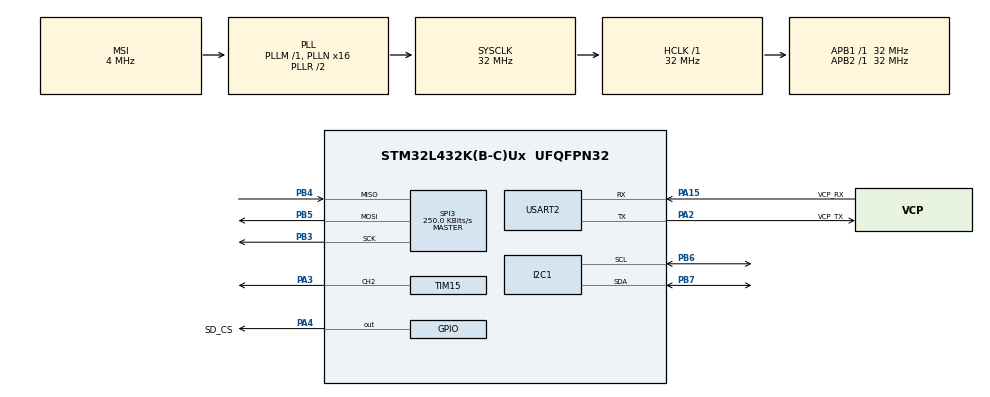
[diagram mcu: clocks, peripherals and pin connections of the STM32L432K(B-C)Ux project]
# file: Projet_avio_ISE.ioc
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I2C1.Timing=0x00B07CB4
Mcu.Family=STM32L4
Mcu.Name=STM32L432K(B-C)Ux
Mcu.Package=UFQFPN32
NVIC.PriorityGroup=NVIC_PRIORITYGROUP_4
PA0.GPIO_Label=MCO [High speed clock in]
PA0.Mode=HSE-External-Clock-Source-for-LittleOrca
PA0.Signal=RCC_CK_IN
PA13\ (JTMS-SWDIO).GPIO_Label=SWDIO
PA13\ (JTMS-SWDIO).Mode=Serial_Wire
PA13\ (JTMS-SWDIO).Signal=SYS_JTMS-SWDIO
PA14\ (JTCK-SWCLK).GPIO_Label=SWCLK
PA14\ (JTCK-SWCLK).Mode=Serial_Wire
PA14\ (JTCK-SWCLK).Signal=SYS_JTCK-SWCLK
PA15\ (JTDI).GPIO_Label=VCP_RX
PA15\ (JTDI).Mode=Asynchronous
PA15\ (JTDI).Signal=USART2_RX
PA2.GPIO_Label=VCP_TX
PA2.Mode=Asynchronous
PA2.Signal=USART2_TX
PA3.Signal=S_TIM15_CH2
PA4.GPIO_Label=SD_CS
PA4.GPIO_PuPd=GPIO_PULLUP
PA4.GPIO_Speed=GPIO_SPEED_FREQ_LOW
PA4.PinState=GPIO_PIN_SET
PA4.Signal=GPIO_Output
PB3\ (JTDO-TRACESWO).GPIO_PuPd=GPIO_PULLUP
PB3\ (JTDO-TRACESWO).Mode=Full_Duplex_Master
PB3\ (JTDO-TRACESWO).Signal=SPI3_SCK
PB4\ (NJTRST).GPIO_PuPd=GPIO_PULLUP
PB4\ (NJTRST).Mode=Full_Duplex_Master
PB4\ (NJTRST).Signal=SPI3_MISO
PB5.GPIO_PuPd=GPIO_PULLUP
PB5.Mode=Full_Duplex_Master
PB5.Signal=SPI3_MOSI
PB6.Mode=I2C
PB6.Signal=I2C1_SCL
PB7.Mode=I2C
PB7.Signal=I2C1_SDA
PC14-OSC32_IN\ (PC14).Mode=LSE-External-Oscillator
PC14-OSC32_IN\ (PC14).Signal=RCC_OSC32_IN
PC15-OSC32_OUT\ (PC15).Mode=LSE-External-Oscillator
PC15-OSC32_OUT\ (PC15).Signal=RCC_OSC32_OUT
ProjectManager.HeapSize=0x200
ProjectManager.StackSize=0x400
ProjectManager.TargetToolchain=STM32CubeIDE
RCC.AHBFreq_Value=32000000
RCC.APB1Freq_Value=32000000
RCC.APB1TimFreq_Value=32000000
RCC.APB2Freq_Value=32000000
RCC.APB2TimFreq_Value=32000000
RCC.CortexFreq_Value=32000000
RCC.HCLKFreq_Value=32000000
RCC.HSE_VALUE=8000000
RCC.HSI16_VALUE=16000000
RCC.HSI48_VALUE=48000000
RCC.HSI_VALUE=16000000
RCC.MSI_VALUE=4000000
RCC.PLLMUL=RCC_PLLMUL_4
RCC.PLLN=16
RCC.SYSCLKFreq_VALUE=32000000
RCC.SYSCLKSource=RCC_SYSCLKSOURCE_PLLCLK
RCC.VCOOutputFreq_Value=64000000
SH.S_TIM15_CH2.0=TIM15_CH2,PWM Generation2 CH2
SPI3.BaudRatePrescaler=SPI_BAUDRATEPRESCALER_128
SPI3.CalculateBaudRate=250.0 KBits/s
SPI3.DataSize=SPI_DATASIZE_8BIT
SPI3.Direction=SPI_DIRECTION_2LINES
SPI3.Mode=SPI_MODE_MASTER
SPI3.VirtualType=VM_MASTER
TIM15.Channel-PWM\ Generation2\ CH2=TIM_CHANNEL_2
TIM15.Prescaler=31
USART2.VirtualMode-Asynchronous=VM_ASYNC
VP_FATFS_VS_Generic.Mode=User_defined
VP_TIM15_VS_ClockSourceINT.Mode=Internal
board=NUCLEO-L432KC

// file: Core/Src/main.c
/* USER CODE BEGIN Header */
/**
  ******************************************************************************
  * @file           : main.c
  * @brief          : Main program body
  ******************************************************************************
  */
/* USER CODE END Header */
#include "main.h"
#include "fatfs.h"

/* USER CODE BEGIN Includes */
#include <stdio.h>
#include "ssd1306.h"
#include "ssd1306_fonts.h"
#include "BMPXX80.h"
#include "icm20948.h"
#include "sd_logger.h"
#include "arinc429.h"
#include "servo.h"
/* USER CODE END Includes */

/* USER CODE BEGIN PD */
#define BMP280_ADDR 0xEC // Adresse I2C (0x76 << 1)
/* USER CODE END PD */

I2C_HandleTypeDef hi2c1;

SPI_HandleTypeDef hspi3;

TIM_HandleTypeDef htim15;

UART_HandleTypeDef huart2;

void SystemClock_Config(void);
static void MX_GPIO_Init(void);
static void MX_USART2_UART_Init(void);
static void MX_I2C1_Init(void);
static void MX_SPI3_Init(void);
static void MX_TIM15_Init(void);

/* USER CODE BEGIN 0 */

// Redirection printf vers Tera Term
int _write(int file, char *ptr, int len) {
    HAL_UART_Transmit(&huart2, (uint8_t *)ptr, len, HAL_MAX_DELAY);
    return len;
}

/* USER CODE END 0 */

int main(void)
{

  /* MCU Configuration--------------------------------------------------------*/

  /* Reset of all peripherals, Initializes the Flash interface and the Systick. */
  HAL_Init();

  /* Configure the system clock */
  SystemClock_Config();

  /* Initialize all configured peripherals */
  MX_GPIO_Init();
  MX_USART2_UART_Init();
  MX_I2C1_Init();
  MX_FATFS_Init();
  MX_SPI3_Init();
  MX_TIM15_Init();
  /* USER CODE BEGIN 2 */
  printf("\r\n--- Systeme Avionique : Valeurs Reelles ---\r\n");

  ssd1306_Init();
  ssd1306_Fill(Black);
  ssd1306_UpdateScreen();

  // Initialisation via bibliothèque (lit les réglages de calibration) [cite: 87]
  BMP280_Init(&hi2c1, BMP280_TEMPERATURE_16BIT, BMP280_STANDARD, BMP280_FORCEDMODE);

  printf("Capteur calibre et pret.\r\n");

  //Initialisation du gyro via la bibliothèque
  if (ICM20948_Init(&hi2c1) == 0) {
      printf("Gyro ICM-20948 Pret et configure !\r\n");
  } else {
      printf("Erreur d'initialisation du Gyroscope.\r\n");
  }

  //Init carte SD
  //AJout délais
  HAL_Delay(1000);
  if (SD_Logger_Init() == 0) {
        printf("Carte SD initialisee ! Fichier VOL_001.CSV cree.\r\n");
    } else {
        printf("ERREUR Carte SD.\r\n");
    }

  // Initialisation du Servomoteur
  HAL_Delay(1000);
  Servo_Init(&htim15, TIM_CHANNEL_2);
  //HAL_TIM_PWM_Start(&htim16, TIM_CHANNEL_1);
  printf("Servomoteur initialise.\r\n");
  float yaw = 0.0f;
  // TEST BRUTE-FORCE : On force l'impulsion à 2000 µs (+90°)
    __HAL_TIM_SET_COMPARE(&htim15, TIM_CHANNEL_2, 2000);
    HAL_Delay(1000); // On attend 1 seconde pour voir s'il bouge
    __HAL_TIM_SET_COMPARE(&htim15, TIM_CHANNEL_2, 1000); // Puis on le force à -90°

  /* USER CODE END 2 */

  /* Infinite loop */
  /* USER CODE BEGIN WHILE */
    while (1)
    {
    	//__HAL_TIM_SET_COMPARE(&htim16, TIM_CHANNEL_1, 1500);
        // --- 1. Variables pour stocker les mesures ---
        float temperature = 0.0f;
        int32_t pressure_pa = 0;

        float ax = 0.0f, ay = 0.0f, az = 0.0f;
        float gx = 0.0f, gy = 0.0f, gz = 0.0f;

        char oled_buf[32];

        // --- 2. Lecture de tous les capteurs ---
        uint8_t bmp_ok   = (BMP280_ReadTemperatureAndPressure(&temperature, &pressure_pa) == 0);
        uint8_t accel_ok = (ICM20948_ReadAccel(&ax, &ay, &az) == 0);
        ICM20948_ReadGyro(&gx, &gy, &gz);

        // --- 3. Début du dessin sur l'écran (On nettoie tout) ---
        ssd1306_Fill(Black);

        // ==========================================
		// GESTION DU SERVOMOTEUR (LACET / YAW)
		// ==========================================
		if (gz > 2.0f || gz < -2.0f) {
			// Intégration de la vitesse pour obtenir l'angle
			yaw -= (gz * 0.05f);
		}

		// 1. Bridage mathématique de l'angle (-90° à +90°)
		if (yaw > 90.0f) yaw = 90.0f;
		if (yaw < -90.0f) yaw = -90.0f;

		// 2. Calcul direct de l'impulsion (5.55 µs par degré)
		uint32_t pulse = 1500 + (int32_t)(yaw * 5.55f);

		// 3. Sécurité mécanique absolue
		if (pulse < 1000) pulse = 1000;
		if (pulse > 2000) pulse = 2000;

		// 4. Ordre matériel direct au Timer 15 (On bypass le fichier servo.c)
		__HAL_TIM_SET_COMPARE(&htim15, TIM_CHANNEL_2, pulse);

		// 5. Affichage Tera Term complet pour vérifier que le Pulse suit bien l'angle
		printf("GZ: %.2f | Angle YAW: %.2f | Pulse PWM: %lu us\r\n", gz, yaw, pulse);
        //Servo_UpdateYaw(yaw);
        //__HAL_TIM_SET_COMPARE(&htim16, TIM_CHANNEL_1, 1500);
		//if (accel_ok) {
			// On met à jour l'angle.
			// On passe 'gz' (la vitesse lue du gyro) et '0.05f' (le temps de boucle 50ms)
			//Servo_UpdateYaw(gz, 0.05f);
		//}

        // ==========================================
        // PARTIE GAUCHE : DONNÉES MÉTÉO (BMP280)
        // ==========================================
        if (bmp_ok) {
            int t_entier = (int)temperature;
            int t_dec = (int)((temperature - t_entier) * 100);
            if(t_dec < 0) t_dec = -t_dec;
            int p_hpa = pressure_pa / 100;

            // ==========================================
            // Génération du mot ARINC 429
            // ==========================================

            uint32_t mon_mot_arinc = Generer_Mot_ARINC429_Pression(p_hpa);
            printf("Pression: %d hPa | Mot ARINC 429: 0x%08lX\r\n", p_hpa, mon_mot_arinc);

            // Affichage OLED
            ssd1306_SetCursor(2, 15);
            sprintf(oled_buf, "T:%d.%01d C", t_entier, t_dec / 10);
            ssd1306_WriteString(oled_buf, Font_7x10, White);

            ssd1306_SetCursor(2, 35);
            sprintf(oled_buf, "P:%d", p_hpa);
            ssd1306_WriteString(oled_buf, Font_7x10, White);

            ssd1306_SetCursor(2, 47);
            ssd1306_WriteString("hPa", Font_7x10, White);
        } else {
            ssd1306_SetCursor(2, 25);
            ssd1306_WriteString("BMP: ERR", Font_7x10, White);
        }

        // --- Ligne de séparation au milieu de l'écran ---
        ssd1306_Line(62, 0, 62, 64, White);

        // ==========================================
        // PARTIE DROITE : HORIZON ARTIFICIEL (ICM20948)
        // ==========================================
        int center_x = 96;
        int center_y = 32;

        ssd1306_DrawCircle(center_x, center_y, 6, White);
        ssd1306_DrawPixel(center_x, center_y, White);

        if (accel_ok) {
            int pitch_offset = (int)(ay * 18.0f);
            int roll_effect = (int)(ax * 15.0f);

            int x1 = center_x - 22;
            int y1 = center_y + pitch_offset - roll_effect;

            int x2 = center_x + 22;
            int y2 = center_y + pitch_offset + roll_effect;

            if (y1 < 0) { y1 = 0; }
            if (y1 > 63) { y1 = 63; }
            if (y2 < 0) { y2 = 0; }
            if (y2 > 63) { y2 = 63; }

            ssd1306_Line(x1, y1, x2, y2, White);
        } else {
            ssd1306_Line(76, 12, 116, 52, White);
            ssd1306_Line(116, 12, 76, 52, White);
        }

        // ==========================================
        // ENREGISTREMENT CARTE SD
        // ==========================================
        if (bmp_ok && accel_ok) {
            // On écrit sur la carte SD
            uint8_t sd_status = SD_Logger_Write(HAL_GetTick(), temperature, pressure_pa, ax, ay, az);

            if (sd_status == 0) {
                // Si l'écriture a réussi, on allume le "voyant" d'enregistrement sur l'OLED
                ssd1306_DrawPixel(120, 5, White);
                ssd1306_DrawPixel(121, 5, White); // On en met 4 pour faire un petit carré visible
                ssd1306_DrawPixel(120, 6, White);
                ssd1306_DrawPixel(121, 6, White);
            }
        }

        // --- 4. Envoi de toute l'image construite vers l'OLED ---
        ssd1306_UpdateScreen();

        // Délai pour dicter la vitesse d'enregistrement (50ms = 20 lignes par seconde)
        HAL_Delay(50);

    /* USER CODE END WHILE */

  }
}

void SystemClock_Config(void)
{
  RCC_OscInitTypeDef RCC_OscInitStruct = {0};
  RCC_ClkInitTypeDef RCC_ClkInitStruct = {0};

  /** Configure the main internal regulator output voltage
  */
  if (HAL_PWREx_ControlVoltageScaling(PWR_REGULATOR_VOLTAGE_SCALE1) != HAL_OK)
  {
    Error_Handler();
  }

  /** Configure LSE Drive Capability
  */
  HAL_PWR_EnableBkUpAccess();
  __HAL_RCC_LSEDRIVE_CONFIG(RCC_LSEDRIVE_LOW);

  /** Initializes the RCC Oscillators according to the specified parameters
  * in the RCC_OscInitTypeDef structure.
  */
  RCC_OscInitStruct.OscillatorType = RCC_OSCILLATORTYPE_LSE|RCC_OSCILLATORTYPE_MSI;
  RCC_OscInitStruct.LSEState = RCC_LSE_ON;
  RCC_OscInitStruct.MSIState = RCC_MSI_ON;
  RCC_OscInitStruct.MSICalibrationValue = 0;
  RCC_OscInitStruct.MSIClockRange = RCC_MSIRANGE_6;
  RCC_OscInitStruct.PLL.PLLState = RCC_PLL_ON;
  RCC_OscInitStruct.PLL.PLLSource = RCC_PLLSOURCE_MSI;
  RCC_OscInitStruct.PLL.PLLM = 1;
  RCC_OscInitStruct.PLL.PLLN = 16;
  RCC_OscInitStruct.PLL.PLLP = RCC_PLLP_DIV7;
  RCC_OscInitStruct.PLL.PLLQ = RCC_PLLQ_DIV2;
  RCC_OscInitStruct.PLL.PLLR = RCC_PLLR_DIV2;
  if (HAL_RCC_OscConfig(&RCC_OscInitStruct) != HAL_OK)
  {
    Error_Handler();
  }

  /** Initializes the CPU, AHB and APB buses clocks
  */
  RCC_ClkInitStruct.ClockType = RCC_CLOCKTYPE_HCLK|RCC_CLOCKTYPE_SYSCLK
                              |RCC_CLOCKTYPE_PCLK1|RCC_CLOCKTYPE_PCLK2;
  RCC_ClkInitStruct.SYSCLKSource = RCC_SYSCLKSOURCE_PLLCLK;
  RCC_ClkInitStruct.AHBCLKDivider = RCC_SYSCLK_DIV1;
  RCC_ClkInitStruct.APB1CLKDivider = RCC_HCLK_DIV1;
  RCC_ClkInitStruct.APB2CLKDivider = RCC_HCLK_DIV1;

  if (HAL_RCC_ClockConfig(&RCC_ClkInitStruct, FLASH_LATENCY_1) != HAL_OK)
  {
    Error_Handler();
  }

  /** Enable MSI Auto calibration
  */
  HAL_RCCEx_EnableMSIPLLMode();
}

static void MX_I2C1_Init(void)
{

  hi2c1.Instance = I2C1;
  hi2c1.Init.Timing = 0x00B07CB4;
  hi2c1.Init.OwnAddress1 = 0;
  hi2c1.Init.AddressingMode = I2C_ADDRESSINGMODE_7BIT;
  hi2c1.Init.DualAddressMode = I2C_DUALADDRESS_DISABLE;
  hi2c1.Init.OwnAddress2 = 0;
  hi2c1.Init.OwnAddress2Masks = I2C_OA2_NOMASK;
  hi2c1.Init.GeneralCallMode = I2C_GENERALCALL_DISABLE;
  hi2c1.Init.NoStretchMode = I2C_NOSTRETCH_DISABLE;
  if (HAL_I2C_Init(&hi2c1) != HAL_OK)
  {
    Error_Handler();
  }

  /** Configure Analogue filter
  */
  if (HAL_I2CEx_ConfigAnalogFilter(&hi2c1, I2C_ANALOGFILTER_ENABLE) != HAL_OK)
  {
    Error_Handler();
  }

  /** Configure Digital filter
  */
  if (HAL_I2CEx_ConfigDigitalFilter(&hi2c1, 0) != HAL_OK)
  {
    Error_Handler();
  }

}

static void MX_SPI3_Init(void)
{

  /* SPI3 parameter configuration*/
  hspi3.Instance = SPI3;
  hspi3.Init.Mode = SPI_MODE_MASTER;
  hspi3.Init.Direction = SPI_DIRECTION_2LINES;
  hspi3.Init.DataSize = SPI_DATASIZE_8BIT;
  hspi3.Init.CLKPolarity = SPI_POLARITY_LOW;
  hspi3.Init.CLKPhase = SPI_PHASE_1EDGE;
  hspi3.Init.NSS = SPI_NSS_SOFT;
  hspi3.Init.BaudRatePrescaler = SPI_BAUDRATEPRESCALER_128;
  hspi3.Init.FirstBit = SPI_FIRSTBIT_MSB;
  hspi3.Init.TIMode = SPI_TIMODE_DISABLE;
  hspi3.Init.CRCCalculation = SPI_CRCCALCULATION_DISABLE;
  hspi3.Init.CRCPolynomial = 7;
  hspi3.Init.CRCLength = SPI_CRC_LENGTH_DATASIZE;
  hspi3.Init.NSSPMode = SPI_NSS_PULSE_ENABLE;
  if (HAL_SPI_Init(&hspi3) != HAL_OK)
  {
    Error_Handler();
  }
  /* USER CODE BEGIN SPI3_Init 2 */
  SET_BIT(hspi3.Instance->CR2, SPI_CR2_FRXTH);   // Force le seuil FIFO en 8-bit
  CLEAR_BIT(hspi3.Instance->CR2, SPI_CR2_NSSP);  // Supprime les impulsions parasites

  /* USER CODE END SPI3_Init 2 */

}

static void MX_TIM15_Init(void)
{

  TIM_ClockConfigTypeDef sClockSourceConfig = {0};
  TIM_MasterConfigTypeDef sMasterConfig = {0};
  TIM_OC_InitTypeDef sConfigOC = {0};
  TIM_BreakDeadTimeConfigTypeDef sBreakDeadTimeConfig = {0};

  htim15.Instance = TIM15;
  htim15.Init.Prescaler = 31;
  htim15.Init.CounterMode = TIM_COUNTERMODE_UP;
  htim15.Init.Period = 19999;
  htim15.Init.ClockDivision = TIM_CLOCKDIVISION_DIV1;
  htim15.Init.RepetitionCounter = 0;
  htim15.Init.AutoReloadPreload = TIM_AUTORELOAD_PRELOAD_DISABLE;
  if (HAL_TIM_Base_Init(&htim15) != HAL_OK)
  {
    Error_Handler();
  }
  sClockSourceConfig.ClockSource = TIM_CLOCKSOURCE_INTERNAL;
  if (HAL_TIM_ConfigClockSource(&htim15, &sClockSourceConfig) != HAL_OK)
  {
    Error_Handler();
  }
  if (HAL_TIM_PWM_Init(&htim15) != HAL_OK)
  {
    Error_Handler();
  }
  sMasterConfig.MasterOutputTrigger = TIM_TRGO_RESET;
  sMasterConfig.MasterSlaveMode = TIM_MASTERSLAVEMODE_DISABLE;
  if (HAL_TIMEx_MasterConfigSynchronization(&htim15, &sMasterConfig) != HAL_OK)
  {
    Error_Handler();
  }
  sConfigOC.OCMode = TIM_OCMODE_PWM1;
  sConfigOC.Pulse = 0;
  sConfigOC.OCPolarity = TIM_OCPOLARITY_HIGH;
  sConfigOC.OCNPolarity = TIM_OCNPOLARITY_HIGH;
  sConfigOC.OCFastMode = TIM_OCFAST_DISABLE;
  sConfigOC.OCIdleState = TIM_OCIDLESTATE_RESET;
  sConfigOC.OCNIdleState = TIM_OCNIDLESTATE_RESET;
  if (HAL_TIM_PWM_ConfigChannel(&htim15, &sConfigOC, TIM_CHANNEL_2) != HAL_OK)
  {
    Error_Handler();
  }
  sBreakDeadTimeConfig.OffStateRunMode = TIM_OSSR_DISABLE;
  sBreakDeadTimeConfig.OffStateIDLEMode = TIM_OSSI_DISABLE;
  sBreakDeadTimeConfig.LockLevel = TIM_LOCKLEVEL_OFF;
  sBreakDeadTimeConfig.DeadTime = 0;
  sBreakDeadTimeConfig.BreakState = TIM_BREAK_DISABLE;
  sBreakDeadTimeConfig.BreakPolarity = TIM_BREAKPOLARITY_HIGH;
  sBreakDeadTimeConfig.AutomaticOutput = TIM_AUTOMATICOUTPUT_DISABLE;
  if (HAL_TIMEx_ConfigBreakDeadTime(&htim15, &sBreakDeadTimeConfig) != HAL_OK)
  {
    Error_Handler();
  }
  HAL_TIM_MspPostInit(&htim15);

}

static void MX_USART2_UART_Init(void)
{

  huart2.Instance = USART2;
  huart2.Init.BaudRate = 115200;
  huart2.Init.WordLength = UART_WORDLENGTH_8B;
  huart2.Init.StopBits = UART_STOPBITS_1;
  huart2.Init.Parity = UART_PARITY_NONE;
  huart2.Init.Mode = UART_MODE_TX_RX;
  huart2.Init.HwFlowCtl = UART_HWCONTROL_NONE;
  huart2.Init.OverSampling = UART_OVERSAMPLING_16;
  huart2.Init.OneBitSampling = UART_ONE_BIT_SAMPLE_DISABLE;
  huart2.AdvancedInit.AdvFeatureInit = UART_ADVFEATURE_NO_INIT;
  if (HAL_UART_Init(&huart2) != HAL_OK)
  {
    Error_Handler();
  }

}

static void MX_GPIO_Init(void)
{
  GPIO_InitTypeDef GPIO_InitStruct = {0};

  /* GPIO Ports Clock Enable */
  __HAL_RCC_GPIOC_CLK_ENABLE();
  __HAL_RCC_GPIOA_CLK_ENABLE();
  __HAL_RCC_GPIOB_CLK_ENABLE();

  /*Configure GPIO pin Output Level */
  HAL_GPIO_WritePin(SD_CS_GPIO_Port, SD_CS_Pin, GPIO_PIN_SET);

  /*Configure GPIO pin : SD_CS_Pin */
  GPIO_InitStruct.Pin = SD_CS_Pin;
  GPIO_InitStruct.Mode = GPIO_MODE_OUTPUT_PP;
  GPIO_InitStruct.Pull = GPIO_PULLUP;
  GPIO_InitStruct.Speed = GPIO_SPEED_FREQ_LOW;
  HAL_GPIO_Init(SD_CS_GPIO_Port, &GPIO_InitStruct);

}

void Error_Handler(void)
{
  __disable_irq();
  while (1)
  {
  }
}
